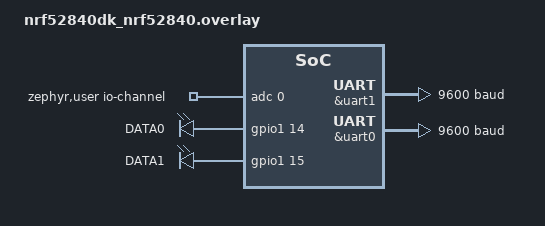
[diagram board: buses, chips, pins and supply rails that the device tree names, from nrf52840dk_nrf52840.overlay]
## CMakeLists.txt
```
# SPDX-License-Identifier: Apache-2.0

cmake_minimum_required(VERSION 3.20.0)

set( CMAKE_EXPORT_COMPILE_COMMANDS ON )

find_package(Zephyr REQUIRED HINTS $ENV{ZEPHYR_BASE})
project(nrfx_sample)

target_sources(app PRIVATE src/main.c)
```

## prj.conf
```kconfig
#CONFIG_GPIO=y
CONFIG_GPIO_NRFX=y
CONFIG_NRFX_PPI=y
CONFIG_PRINTK=y
CONFIG_LOG=y
CONFIG_LOG_PROCESS_THREAD_SLEEP_MS=100
CONFIG_NRFX_TEMP=y
```

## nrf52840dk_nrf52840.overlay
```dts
// To get started, press Ctrl+Space (or Option+Esc) to bring up the completion menu and view the available nodes.

// You can also use the buttons in the sidebar to perform actions on nodes.
// Actions currently available include:

// * Enabling / disabling the node
// * Adding the bus to a bus
// * Removing the node
// * Connecting ADC channels

// For more help, browse the DeviceTree documentation at https://docs.zephyrproject.org/latest/guides/dts/index.html
// You can also visit the nRF DeviceTree extension documentation at https://nrfconnect.github.io/vscode-nrf-connect/devicetree/nrfdevicetree.html
/{
    zephyr,user {
        io-channels = <&adc 0>;
    };

    chosen {
        zephyr,console = &uart1;
        zephyr,shell-uart = &uart0; //may need to be deleted
    };

    soc 
    {
        gpio1: gpio@50000300 {
            //sense-edge-mask = < 0xffff3fff >;//not needed?
            //sense-edge-mask = < 0xfffcffff >;
        };
    };

    pin-controller {
        uart0_default:
            uart0_default {
                status = "okay";
                group1 {
                    psels = <NRF_PSEL (UART_RX, 1, 1) >;
                    bias-pull-up;
                };

                group2 {
                    psels = <NRF_PSEL (UART_TX, 1, 2) >;
                };

            };
        uart0_sleep:
            uart0_sleep {
                group1 {
                    psels = <NRF_PSEL (UART_RX, 1, 1) >,
                    <NRF_PSEL (UART_TX, 1, 2) >;
                };
            };

        // Debug shell service
        uart1_default:
            uart1_default {
                status = "okay";
                group1 {
                    psels = <NRF_PSEL (UART_RX, 0, 21) >;
                    bias-pull-up;
                };

                group2 {
                    psels = <NRF_PSEL (UART_TX, 0, 20) >;
                };
            };
        uart1_sleep:
            uart1_sleep {
                group1 {
                    psels = <NRF_PSEL (UART_RX, 0, 21) >,
                    <NRF_PSEL (UART_TX, 0, 20) >;
                };
            };



        device_outputs {
            compatible = "gpio-leds";

            data0: data0 {
                gpios = <&gpio1 14 0>;
                label = "DATA0";
            };
            data1: data1 {
                gpios = <&gpio1 15 0>;
                label = "DATA1";
            };
        };

};

    &uart1 {
        current-speed = <9600>;
        status = "okay";
    };

    &uart0 {
        current-speed = <9600>;
        status = "okay";
    };
```

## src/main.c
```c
/*
 * Copyright (c) 2019 Nordic Semiconductor ASA
 *
 * SPDX-License-Identifier: Apache-2.0
 */

#include <zephyr/kernel.h>
#include <zephyr/drivers/gpio.h>

#include <nrfx_gpiote.h>
#include <helpers/nrfx_gppi.h>
#if defined(DPPI_PRESENT)
#include <nrfx_dppi.h>
#else
#include <nrfx_ppi.h>
#endif

#include <zephyr/logging/log.h>
#include <zephyr/irq.h>
LOG_MODULE_REGISTER(nrfx_sample, LOG_LEVEL_INF);

const struct gpio_dt_spec z_data0 = GPIO_DT_SPEC_GET(DT_NODELABEL(data0), gpios);
const struct gpio_dt_spec z_data1 = GPIO_DT_SPEC_GET(DT_NODELABEL(data1), gpios);

//#define INPUT_PIN	DT_GPIO_PIN(DT_NODELABEL(data0), gpios)
//#define OUTPUT_PIN	DT_GPIO_PIN(DT_NODELABEL(data1), gpios)

//I don't know how to get the raw pin number from the device tree so I just
//added 32 to the pin number to get the pins from GPIO 1
#define INPUT_PIN 14+32 //data0 is P1.14
#define OUTPUT_PIN 15+32 //data1 is P1.15

#define GPIOTE_INST	NRF_DT_GPIOTE_INST(DT_NODELABEL(data0), gpios)
#define GPIOTE_NODE	DT_NODELABEL(_CONCAT(gpiote, GPIOTE_INST))


//zephyr RTOS gpio callback
struct gpio_callback z_cb_data;
void z_gpio_cb(const struct device *dev, struct gpio_callback *cb, uint32_t pins)
{
    LOG_INF("Z_GPIO CB!");
}

//NRFX HAL GPIOTE callback (should not get called!)
static void button_handler(nrfx_gpiote_pin_t pin,
			   nrfx_gpiote_trigger_t trigger,
			   void *context)
{
	LOG_INF("GPIO input event callback");
}


//main
int main(void)
{
    uint8_t channel_check = 255; //not needed, just for debugging
	nrfx_err_t err;
	uint8_t in_channel, out_channel;
	uint8_t ppi_channel;
	LOG_INF("nrfx_gpiote sample on %s", CONFIG_BOARD);
    LOG_INF("input pin: %d", INPUT_PIN);
    LOG_INF("output pin: %d", OUTPUT_PIN);
        
    //declare gpiote instance structure
    const nrfx_gpiote_t gpiote = NRFX_GPIOTE_INSTANCE(GPIOTE_INST);
    LOG_INF("gpiote_instance: %d\n", GPIOTE_INST);

    //non-necessary, just debugging
    nrfx_gpiote_channel_get(GPIOTE_INST, INPUT_PIN, &channel_check);
    LOG_INF("data0 gpiote_channel: %d\n", channel_check); 

    //Zephyr API to setup P1.14 as INPUT with interrupt and callback
    // NOTE: this configures the GPIOTE as well (so long as gpio1 in
    // devicetree has sense-edge-mask set correctly, which I didn't 
    // have to touch at all. Just try it, if it doesn't work only then
    // mess with the Devicetree)
    gpio_pin_configure_dt(&z_data0, GPIO_INPUT);
    gpio_pin_interrupt_configure_dt(&z_data0, GPIO_INT_EDGE_BOTH);
    gpio_init_callback(&z_cb_data, z_gpio_cb, BIT(z_data0.pin));
    gpio_add_callback(z_data0.port, &z_cb_data);
    
    //Zephyr API to setup P1.15 as GPIO OUTPUT
    // I do not believe this touches GPIOTE whatsoever, so GPIOTE
    // configuration for the output is still necessary
    gpio_pin_configure_dt(&z_data1, GPIO_OUTPUT_ACTIVE);

    //Debugging, non-necessary. Just checks to see what channel the pins are
    nrfx_gpiote_channel_get(GPIOTE_INST, INPUT_PIN, &channel_check);
    LOG_INF("data0 gpiote_channel: %d\n", channel_check); 
    nrfx_gpiote_channel_get(GPIOTE_INST, OUTPUT_PIN, &channel_check);
    LOG_INF("data1 gpiote_channel: %d\n", channel_check); 

   

    //NRFX interrupt setup. Don't do this because Zephyr already handles this

	/* Connect GPIOTE instance IRQ to irq handler */
    /*
	IRQ_CONNECT(DT_IRQN(GPIOTE_NODE), DT_IRQ(GPIOTE_NODE, priority), nrfx_isr,
		    NRFX_CONCAT(nrfx_gpiote_, GPIOTE_INST, _irq_handler), 0);
    */


    //This function gives the error code for "already initialized" which is no
    //surprise, as the Zephyr GPIO APIs already setup GPIOTE. Don't use this
    //function

	/* Initialize GPIOTE (the interrupt priority passed as the parameter
	 * here is ignored, see nrfx_glue.h).
	 */
    /*
	err = nrfx_gpiote_init(&gpiote, 0);
	if (err != NRFX_SUCCESS) {
		LOG_ERR("nrfx_gpiote_init error: 0x%08X", err);
		return 0;
	}
    */


    //Zephyr already allocates a GPIOTE channel for the input pin. Do not
    //allocate another one as I don't know what kind of side affects this
    //has!

	//err = nrfx_gpiote_channel_alloc(&gpiote, &in_channel);
	//if (err != NRFX_SUCCESS) {
	//	LOG_ERR("Failed to allocate in_channel, error: 0x%08X", err);
	//	return 0;
	//}


    //DO allocate a GPIOTE channel for the output. This is because Zephyr
    //API does not use GPIOTE for outputs?? Not sure
	err = nrfx_gpiote_channel_alloc(&gpiote, &out_channel);
	if (err != NRFX_SUCCESS) {
		LOG_ERR("Failed to allocate out_channel, error: 0x%08X", err);
		return 0;
	}


    //ALL OF THE BELOW is related to input pin GPIOTE setup, which is all
    //automatically handled by gpio_pin_interrupt_configure_dt() etc. 
    //DO NOT do it again!

	/* Initialize input pin to generate event on high to low transition
	 * (falling edge) and call button_handler()
	 */
    //nrfx_gpiote_channel_get(GPIOTE_INST, INPUT_PIN, &in_channel);
    //nrfx_gpiote_channel_get(GPIOTE_INST, OUTPUT_PIN, &out_channel);
    /*
	static const nrf_gpio_pin_pull_t pull_config = NRF_GPIO_PIN_PULLUP;
	nrfx_gpiote_trigger_config_t trigger_config = {
		.trigger = NRFX_GPIOTE_TRIGGER_HITOLO,
		//.trigger = NRFX_GPIOTE_TRIGGER_TOGGLE,
		.p_in_channel = &in_channel,
	};
	static const nrfx_gpiote_handler_config_t handler_config = {
		.handler = button_handler,
	};
	nrfx_gpiote_input_pin_config_t input_config = {
		.p_pull_config = &pull_config,
		.p_trigger_config = &trigger_config,
		.p_handler_config = &handler_config
	};
    */
	//err = nrfx_gpiote_input_configure(&gpiote, INPUT_PIN, &input_config);


    //The below sets up the GPIOTE output pin. The Zephyr API has not done 
    //this yet so you must do this!

	/* Initialize output pin. SET task will turn the LED on,
	 * CLR will turn it off and OUT will toggle it.
	 */
	static const nrfx_gpiote_output_config_t output_config = {
		.drive = NRF_GPIO_PIN_S0S1,
		.input_connect = NRF_GPIO_PIN_INPUT_DISCONNECT,
		.pull = NRF_GPIO_PIN_NOPULL,
	};
	const nrfx_gpiote_task_config_t task_config = {
		.task_ch = out_channel,
		.polarity = NRF_GPIOTE_POLARITY_TOGGLE,
		.init_val = 1,
	};
	err = nrfx_gpiote_output_configure(&gpiote, OUTPUT_PIN,
					   &output_config,
					   &task_config);
	if (err != NRFX_SUCCESS) {
		LOG_ERR("nrfx_gpiote_output_configure error: 0x%08X", err);
		return 0;
	}

    //Once again, don't enable the input here as Zephyr API already did.
	//nrfx_gpiote_trigger_enable(&gpiote, INPUT_PIN, true);
    
    //But DO enable the output because Zephyr hasn't done that
	nrfx_gpiote_out_task_enable(&gpiote, OUTPUT_PIN);

	LOG_INF("nrfx_gpiote initialized");


    //The rest of the program should be the same as the board nrfx example.

	/* Allocate a (D)PPI channel. */
	err = nrfx_gppi_channel_alloc(&ppi_channel);
	if (err != NRFX_SUCCESS) {
		LOG_ERR("nrfx_gppi_channel_alloc error: 0x%08X", err);
		return 0;
	}

	/* Configure endpoints of the channel so that the input pin event is
	 * connected with the output pin OUT task. This means that each time
	 * the button is pressed, the LED pin will be toggled.
	 */
	nrfx_gppi_channel_endpoints_setup(ppi_channel,
		nrfx_gpiote_in_event_address_get(&gpiote, INPUT_PIN),
		nrfx_gpiote_out_task_address_get(&gpiote, OUTPUT_PIN));

	/* Enable the channel. */
	nrfx_gppi_channels_enable(BIT(ppi_channel));

	LOG_INF("(D)PPI configured, leaving main()");
	return 0;
}
```
